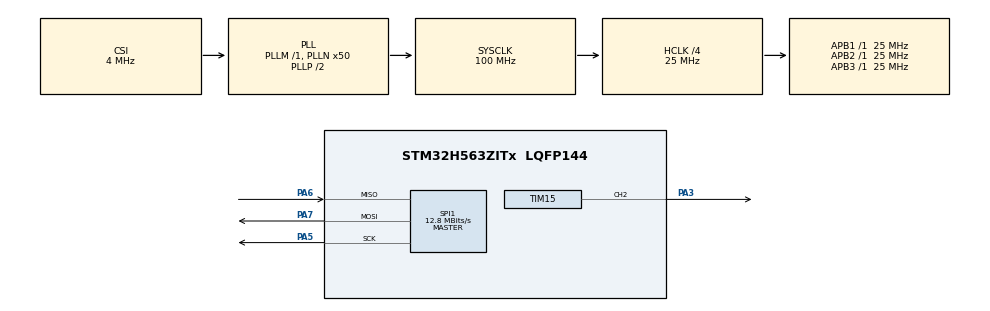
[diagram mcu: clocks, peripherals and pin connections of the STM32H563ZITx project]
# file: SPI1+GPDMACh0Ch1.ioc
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BOOTPATH.BootPathName=LEGACY
BOOTPATH.UserSelectedBootPath=LEGACY
CORTEX_M33_NS.Number-Cortex_Memory_Protection_Unit_Region0_OTP_RO_AREAS_Settings=MPU_REGION_NUMBER0
CORTEX_M33_NS.default_mode_Activation=1
CORTEX_M33_NS.userName=CORTEX_M33
GPDMA1.LINKALLOCATEDPORT_GPDMACH1=DMA_LINK_ALLOCATED_PORT0
GPDMA1.LINKEDLISTMODE_GPDMACH0=DMA_LINKEDLIST_CIRCULAR
GPDMA1.LINKEDLISTMODE_GPDMACH1=DMA_LINKEDLIST_CIRCULAR
Linkedlist.MDMA_Channel0.GP_SW.0.BlkHWRequest=DMA_BREQ_SINGLE_BURST
Linkedlist.MDMA_Channel0.GP_SW.0.DataHandling=NONE
Linkedlist.MDMA_Channel0.GP_SW.0.DataSize=SAMPLES_PER_CYCLE
Linkedlist.MDMA_Channel0.GP_SW.0.DestBurstLength=1
Linkedlist.MDMA_Channel0.GP_SW.0.DestDataWidth=DMA_DEST_DATAWIDTH_WORD
Linkedlist.MDMA_Channel0.GP_SW.0.DestInc=DMA_DINC_INCREMENTED
Linkedlist.MDMA_Channel0.GP_SW.0.Direction=DMA_PERIPH_TO_MEMORY
Linkedlist.MDMA_Channel0.GP_SW.0.DstAddress=(uint32_t)adc_samples
Linkedlist.MDMA_Channel0.GP_SW.0.Instance=MDMA_Channel0
Linkedlist.MDMA_Channel0.GP_SW.0.LL_CIRCULARNODE=Node1
Linkedlist.MDMA_Channel0.GP_SW.0.LL_MASTERDMA=GPDMA1
Linkedlist.MDMA_Channel0.GP_SW.0.LL_NAME=RX_Queue
Linkedlist.MDMA_Channel0.GP_SW.0.LL_TYPE=CIRCULAR
Linkedlist.MDMA_Channel0.GP_SW.0.Mode=DMA_NORMAL
Linkedlist.MDMA_Channel0.GP_SW.0.NODE_NAME=RX_Node
Linkedlist.MDMA_Channel0.GP_SW.0.Requestforcodegen=GPDMA1_REQUEST_SPI1_RX
Linkedlist.MDMA_Channel0.GP_SW.0.SrcAddress=(uint32_t)&(SPI1->RXDR)
Linkedlist.MDMA_Channel0.GP_SW.0.SrcBurstLength=1
Linkedlist.MDMA_Channel0.GP_SW.0.SrcDataWidth=DMA_SRC_DATAWIDTH_WORD
Linkedlist.MDMA_Channel0.GP_SW.0.SrcInc=DMA_SINC_FIXED
Linkedlist.MDMA_Channel0.GP_SW.0.TransferAllocatedPortSrc=DMA_SRC_ALLOCATED_PORT0
Linkedlist.MDMA_Channel0.GP_SW.0.TransferEventMode=DMA_TCEM_BLOCK_TRANSFER
Linkedlist.MDMA_Channel0.GP_SW.0.TriggerPolarity=DMA_TRIG_POLARITY_MASKED
Linkedlist.MDMA_Channel0.Request0=GP_SW
Linkedlist.MDMA_Channel0.RequestsNb=1
Linkedlist.MDMA_Channel1.GP_SW.0.BlkHWRequest=DMA_BREQ_SINGLE_BURST
Linkedlist.MDMA_Channel1.GP_SW.0.DataHandling=NONE
Linkedlist.MDMA_Channel1.GP_SW.0.DataSize=SAMPLES_PER_CYCLE
Linkedlist.MDMA_Channel1.GP_SW.0.DestBurstLength=1
Linkedlist.MDMA_Channel1.GP_SW.0.DestDataWidth=DMA_DEST_DATAWIDTH_WORD
Linkedlist.MDMA_Channel1.GP_SW.0.DestInc=DMA_DINC_FIXED
Linkedlist.MDMA_Channel1.GP_SW.0.Direction=DMA_MEMORY_TO_PERIPH
Linkedlist.MDMA_Channel1.GP_SW.0.DstAddress=(uint32_t)&(SPI1->TXDR)
Linkedlist.MDMA_Channel1.GP_SW.0.Instance=MDMA_Channel1
Linkedlist.MDMA_Channel1.GP_SW.0.LL_MASTERDMA=GPDMA1
Linkedlist.MDMA_Channel1.GP_SW.0.LL_NAME=TX_Queue
Linkedlist.MDMA_Channel1.GP_SW.0.LL_TYPE=LINEAR
Linkedlist.MDMA_Channel1.GP_SW.0.Mode=DMA_NORMAL
Linkedlist.MDMA_Channel1.GP_SW.0.NODE_NAME=TX_Node
Linkedlist.MDMA_Channel1.GP_SW.0.Requestforcodegen=GPDMA1_REQUEST_SPI1_TX
Linkedlist.MDMA_Channel1.GP_SW.0.SrcAddress=(uint32_t)tx_cmds
Linkedlist.MDMA_Channel1.GP_SW.0.SrcBurstLength=1
Linkedlist.MDMA_Channel1.GP_SW.0.SrcDataWidth=DMA_SRC_DATAWIDTH_WORD
Linkedlist.MDMA_Channel1.GP_SW.0.SrcInc=DMA_SINC_INCREMENTED
Linkedlist.MDMA_Channel1.GP_SW.0.TransferAllocatedPortSrc=DMA_SRC_ALLOCATED_PORT0
Linkedlist.MDMA_Channel1.GP_SW.0.TransferEventMode=DMA_TCEM_BLOCK_TRANSFER
Linkedlist.MDMA_Channel1.GP_SW.0.TriggerMode=DMA_TRIGM_BLOCK_TRANSFER
Linkedlist.MDMA_Channel1.GP_SW.0.TriggerPolarity=DMA_TRIG_POLARITY_FALLING
Linkedlist.MDMA_Channel1.GP_SW.0.TriggerSelection=GPDMA1_TRIGGER_TIM15_TRGO
Linkedlist.MDMA_Channel1.Request0=GP_SW
Linkedlist.MDMA_Channel1.RequestsNb=1
Linkedlist.RequestSet0=MDMA_Channel0
Linkedlist.RequestSet1=MDMA_Channel1
Linkedlist.RequestSetsNb=2
Mcu.Family=STM32H5
Mcu.Name=STM32H563ZITx
Mcu.Package=LQFP144
NUCLEO-H563ZI.BUTTON=1
NUCLEO-H563ZI.LD1=true
NUCLEO-H563ZI.LD2=true
NUCLEO-H563ZI.LD3=true
NUCLEO-H563ZI.VCP=true
NVIC.EXTI13_IRQn=true\:0\:0\:false\:false\:true\:false\:true\:true
NVIC.GPDMA1_Channel0_IRQn=true\:0\:0\:false\:false\:true\:false\:true\:true
NVIC.PriorityGroup=NVIC_PRIORITYGROUP_4
PA3.Signal=S_TIM15_CH2
PA5.Mode=Full_Duplex_Master
PA5.Signal=SPI1_SCK
PA6.Mode=Full_Duplex_Master
PA6.Signal=SPI1_MISO
PA7.Mode=Full_Duplex_Master
PA7.Signal=SPI1_MOSI
PD8.Signal=USART3_TX
PD9.Signal=USART3_RX
ProjectManager.HeapSize=0x200
ProjectManager.StackSize=0x400
ProjectManager.TargetToolchain=STM32CubeIDE
RCC.ADCFreq_Value=25000000
RCC.AHBCLKDivider=RCC_SYSCLK_DIV4
RCC.AHBFreq_Value=25000000
RCC.APB1Freq_Value=25000000
RCC.APB1TimFreq_Value=25000000
RCC.APB2Freq_Value=25000000
RCC.APB2TimFreq_Value=25000000
RCC.APB3Freq_Value=25000000
RCC.CSI_VALUE=4000000
RCC.CortexFreq_Value=25000000
RCC.EPOD_VALUE=4000000
RCC.HCLKFreq_Value=25000000
RCC.HSE_VALUE=8000000
RCC.HSI48_VALUE=48000000
RCC.HSIDiv=RCC_HSI_DIV1
RCC.HSI_VALUE=64000000
RCC.LSE_VALUE=32768
RCC.LSIRC_VALUE=32000
RCC.PLL2FRACN=0
RCC.PLL2M=5
RCC.PLL2N=20
RCC.PLL2P=10
RCC.PLL2Source=RCC_PLL2_SOURCE_HSI
RCC.PLL3FRACN=0
RCC.PLLFRACN=0
RCC.PLLN=50
RCC.SPI1CLockSelection=RCC_SPI1CLKSOURCE_PLL2P
RCC.SYSCLKFreq_VALUE=100000000
RCC.SYSCLKSource=RCC_SYSCLKSOURCE_PLLCLK
RCC.USBFreq_Value=48000000
RCC.VCOOutputFreq_Value=200000000
SH.S_TIM15_CH2.0=TIM15_CH2,PWM Generation2 CH2
SPI1.CalculateBaudRate=12.8 MBits/s
SPI1.DataSize=SPI_DATASIZE_20BIT
SPI1.Direction=SPI_DIRECTION_2LINES
SPI1.Mode=SPI_MODE_MASTER
SPI1.VirtualType=VM_MASTER
TIM15.Channel-PWM\ Generation2\ CH2=TIM_CHANNEL_2
TIM15.PeriodNoDither=1000
TIM15.Prescaler=(25000-1)
TIM15.PulseNoDither_2=(500-1)
TIM15.TIM_MasterOutputTrigger=TIM_TRGO_UPDATE
TIM15.TIM_MasterSlaveMode=TIM_MASTERSLAVEMODE_ENABLE
VP_BOOTPATH_VS_BOOTPATH.Mode=BP_Activate
VP_CORTEX_M33_NS_VS_Hclk.Mode=Hclk_Mode
VP_GPDMA1_VS_GPDMACH0.Mode=LINKEDLIST_GPDMACH0
VP_GPDMA1_VS_GPDMACH1.Mode=LINKEDLIST_GPDMACH1
VP_ICACHE_VS_ICACHE.Mode=DirectMappedCache
VP_MEMORYMAP_VS_MEMORYMAP.Mode=CurAppReg
VP_NUCLEO-H563ZI_VS_BSP_COMMON.Mode=COMMON
VP_PWR_VS_DBSignals.Mode=DisableDeadBatterySignals
VP_PWR_VS_LPOM.Mode=PowerOptimisation
VP_PWR_VS_SECSignals.Mode=Security/Privilege
VP_TIM15_VS_ClockSourceINT.Mode=Internal
board=NUCLEO-H563ZI

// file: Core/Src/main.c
/* USER CODE BEGIN Header */
/**
  ******************************************************************************
  * @file           : main.c
  * @brief          : Main program body
  ******************************************************************************
  * @attention
  *
  * Copyright (c) 2026 STMicroelectronics.
  * All rights reserved.
  *
  * This software is licensed under terms that can be found in the LICENSE file
  * in the root directory of this software component.
  * If no LICENSE file comes with this software, it is provided AS-IS.
  *
  ******************************************************************************
  */
/* USER CODE END Header */
#include "main.h"

/* USER CODE BEGIN Includes */
#include "linked_list.h"
#include "stm32h5xx_ll_spi.h"

/* USER CODE END Includes */

COM_InitTypeDef BspCOMInit;

DMA_HandleTypeDef handle_GPDMA1_Channel1;
DMA_HandleTypeDef handle_GPDMA1_Channel0;

SPI_HandleTypeDef hspi1;

TIM_HandleTypeDef htim15;

/* USER CODE BEGIN PV */
uint8_t adc_samples[TOTAL_TRANSFER_BYTES];
uint8_t tx_cmds[TOTAL_TRANSFER_BYTES];

extern DMA_QListTypeDef RX_Queue;
extern DMA_QListTypeDef TX_Queue;

/* USER CODE END PV */

void SystemClock_Config(void);
static void MPU_Config(void);
static void MX_GPIO_Init(void);
static void MX_GPDMA1_Init(void);
static void MX_ICACHE_Init(void);
static void MX_SPI1_Init(void);
static void MX_TIM15_Init(void);
/* USER CODE BEGIN PFP */
static void HAL_DMA_XferCpltCallback(DMA_HandleTypeDef *hdma);
static void HAL_DMA_XferErrorCallback(DMA_HandleTypeDef *hdma);

/* USER CODE END PFP */

/* USER CODE BEGIN 0 */
__IO uint32_t TransferCompleteDetected = 0U, TransferErrorDetected = 0U;

/* USER CODE END 0 */

int main(void)
{

  /* MCU Configuration--------------------------------------------------------*/

  /* MPU Configuration--------------------------------------------------------*/
  MPU_Config();

  /* Reset of all peripherals, Initializes the Flash interface and the Systick. */
  HAL_Init();

  /* Configure the system clock */
  SystemClock_Config();

  /* Initialize all configured peripherals */
  MX_GPIO_Init();
  MX_GPDMA1_Init();
  MX_ICACHE_Init();
  MX_SPI1_Init();
  MX_TIM15_Init();
  /* USER CODE BEGIN 2 */

  /* Initialize all configured peripherals */
    /* Initialize leds */
  BSP_LED_Init(LED_GREEN);
  BSP_LED_Init(LED_YELLOW);
  BSP_LED_Init(LED_RED);

  /* Initialize USER push-button, will be used to trigger an interrupt each time it's pressed.*/
  BSP_PB_Init(BUTTON_USER, BUTTON_MODE_EXTI);

  /* Initialize COM1 port (115200, 8 bits (7-bit data + 1 stop bit), no parity */
  BspCOMInit.BaudRate   = 115200;
  BspCOMInit.WordLength = COM_WORDLENGTH_8B;
  BspCOMInit.StopBits   = COM_STOPBITS_1;
  BspCOMInit.Parity     = COM_PARITY_NONE;
  BspCOMInit.HwFlowCtl  = COM_HWCONTROL_NONE;

  if (BSP_COM_Init(COM1, &BspCOMInit) != BSP_ERROR_NONE)
  {
    Error_Handler();
  }

  SET_BIT(hspi1.Instance->CFG1, SPI_CFG1_RXDMAEN);
  SET_BIT(hspi1.Instance->CFG1, SPI_CFG1_TXDMAEN);

  __HAL_SPI_ENABLE(&hspi1);

  for (uint32_t i = 0; i < TOTAL_TRANSFER_BYTES; i++)
  {
      tx_cmds[i] = (uint8_t)(0xA0 + i);
  }

  MX_RX_Queue_Config();
  MX_TX_Queue_Config();
  HAL_DMAEx_List_LinkQ(&handle_GPDMA1_Channel0, &RX_Queue);
  HAL_DMAEx_List_LinkQ(&handle_GPDMA1_Channel1, &TX_Queue);

  __HAL_LINKDMA(&hspi1, hdmarx, handle_GPDMA1_Channel0);
  __HAL_LINKDMA(&hspi1, hdmatx, handle_GPDMA1_Channel1);

  HAL_DMA_RegisterCallback(&handle_GPDMA1_Channel0, HAL_DMA_XFER_CPLT_CB_ID, HAL_DMA_XferCpltCallback);
  HAL_DMA_RegisterCallback(&handle_GPDMA1_Channel0, HAL_DMA_XFER_ERROR_CB_ID, HAL_DMA_XferErrorCallback);

	if (HAL_DMAEx_List_Start_IT(&handle_GPDMA1_Channel0) != HAL_OK)
	    {
	      Error_Handler();
	    }

	if (HAL_DMAEx_List_Start_IT(&handle_GPDMA1_Channel1) != HAL_OK)
		    {
		      Error_Handler();
		    }

	HAL_TIM_Base_Start(&htim15);
	HAL_TIM_PWM_Start(&htim15, TIM_CHANNEL_2);

	uint32_t loops = 0;
	while (loops < 1000000U && TransferErrorDetected == 0U) {
		if (TransferCompleteDetected) {
	        // Put a breakpoint here
	        TransferCompleteDetected = 0U; // clear and let it fire again
	    }
	    ++loops;
	}

	  if (TransferErrorDetected == 1U)
	    {
	      Error_Handler();
	    }

  /* USER CODE END 2 */

  /* Infinite loop */
  /* USER CODE BEGIN WHILE */
  while (1)
  {
	    HAL_Delay(100);
	    BSP_LED_Toggle(LED_GREEN);

    /* USER CODE END WHILE */

  }
}

void SystemClock_Config(void)
{
  RCC_OscInitTypeDef RCC_OscInitStruct = {0};
  RCC_ClkInitTypeDef RCC_ClkInitStruct = {0};

  /** Configure the main internal regulator output voltage
  */
  __HAL_PWR_VOLTAGESCALING_CONFIG(PWR_REGULATOR_VOLTAGE_SCALE3);

  while(!__HAL_PWR_GET_FLAG(PWR_FLAG_VOSRDY)) {}

  /** Initializes the RCC Oscillators according to the specified parameters
  * in the RCC_OscInitTypeDef structure.
  */
  RCC_OscInitStruct.OscillatorType = RCC_OSCILLATORTYPE_HSI|RCC_OSCILLATORTYPE_CSI;
  RCC_OscInitStruct.HSIState = RCC_HSI_ON;
  RCC_OscInitStruct.HSIDiv = RCC_HSI_DIV1;
  RCC_OscInitStruct.HSICalibrationValue = RCC_HSICALIBRATION_DEFAULT;
  RCC_OscInitStruct.CSIState = RCC_CSI_ON;
  RCC_OscInitStruct.CSICalibrationValue = RCC_CSICALIBRATION_DEFAULT;
  RCC_OscInitStruct.PLL.PLLState = RCC_PLL_ON;
  RCC_OscInitStruct.PLL.PLLSource = RCC_PLL1_SOURCE_CSI;
  RCC_OscInitStruct.PLL.PLLM = 1;
  RCC_OscInitStruct.PLL.PLLN = 50;
  RCC_OscInitStruct.PLL.PLLP = 2;
  RCC_OscInitStruct.PLL.PLLQ = 2;
  RCC_OscInitStruct.PLL.PLLR = 2;
  RCC_OscInitStruct.PLL.PLLRGE = RCC_PLL1_VCIRANGE_2;
  RCC_OscInitStruct.PLL.PLLVCOSEL = RCC_PLL1_VCORANGE_WIDE;
  RCC_OscInitStruct.PLL.PLLFRACN = 0;
  if (HAL_RCC_OscConfig(&RCC_OscInitStruct) != HAL_OK)
  {
    Error_Handler();
  }

  /** Initializes the CPU, AHB and APB buses clocks
  */
  RCC_ClkInitStruct.ClockType = RCC_CLOCKTYPE_HCLK|RCC_CLOCKTYPE_SYSCLK
                              |RCC_CLOCKTYPE_PCLK1|RCC_CLOCKTYPE_PCLK2
                              |RCC_CLOCKTYPE_PCLK3;
  RCC_ClkInitStruct.SYSCLKSource = RCC_SYSCLKSOURCE_PLLCLK;
  RCC_ClkInitStruct.AHBCLKDivider = RCC_SYSCLK_DIV4;
  RCC_ClkInitStruct.APB1CLKDivider = RCC_HCLK_DIV1;
  RCC_ClkInitStruct.APB2CLKDivider = RCC_HCLK_DIV1;
  RCC_ClkInitStruct.APB3CLKDivider = RCC_HCLK_DIV1;

  if (HAL_RCC_ClockConfig(&RCC_ClkInitStruct, FLASH_LATENCY_4) != HAL_OK)
  {
    Error_Handler();
  }

  /** Configure the programming delay
  */
  __HAL_FLASH_SET_PROGRAM_DELAY(FLASH_PROGRAMMING_DELAY_2);
}

static void MX_GPDMA1_Init(void)
{

  /* Peripheral clock enable */
  __HAL_RCC_GPDMA1_CLK_ENABLE();

  /* GPDMA1 interrupt Init */
    HAL_NVIC_SetPriority(GPDMA1_Channel0_IRQn, 0, 0);
    HAL_NVIC_EnableIRQ(GPDMA1_Channel0_IRQn);

    HAL_NVIC_SetPriority(GPDMA1_Channel1_IRQn, 0, 0);
    HAL_NVIC_EnableIRQ(GPDMA1_Channel1_IRQn);

  handle_GPDMA1_Channel1.Instance = GPDMA1_Channel1;
  handle_GPDMA1_Channel1.InitLinkedList.Priority = DMA_LOW_PRIORITY_LOW_WEIGHT;
  handle_GPDMA1_Channel1.InitLinkedList.LinkStepMode = DMA_LSM_FULL_EXECUTION;
  handle_GPDMA1_Channel1.InitLinkedList.LinkAllocatedPort = DMA_LINK_ALLOCATED_PORT0;
  handle_GPDMA1_Channel1.InitLinkedList.TransferEventMode = DMA_TCEM_LAST_LL_ITEM_TRANSFER;
  handle_GPDMA1_Channel1.InitLinkedList.LinkedListMode = DMA_LINKEDLIST_CIRCULAR;
  if (HAL_DMAEx_List_Init(&handle_GPDMA1_Channel1) != HAL_OK)
  {
    Error_Handler();
  }
  if (HAL_DMA_ConfigChannelAttributes(&handle_GPDMA1_Channel1, DMA_CHANNEL_NPRIV) != HAL_OK)
  {
    Error_Handler();
  }

  handle_GPDMA1_Channel0.Instance = GPDMA1_Channel0;
  handle_GPDMA1_Channel0.InitLinkedList.Priority = DMA_LOW_PRIORITY_LOW_WEIGHT;
  handle_GPDMA1_Channel0.InitLinkedList.LinkStepMode = DMA_LSM_FULL_EXECUTION;
  handle_GPDMA1_Channel0.InitLinkedList.LinkAllocatedPort = DMA_LINK_ALLOCATED_PORT0;
  handle_GPDMA1_Channel0.InitLinkedList.TransferEventMode = DMA_TCEM_LAST_LL_ITEM_TRANSFER;
  handle_GPDMA1_Channel0.InitLinkedList.LinkedListMode = DMA_LINKEDLIST_CIRCULAR;
  if (HAL_DMAEx_List_Init(&handle_GPDMA1_Channel0) != HAL_OK)
  {
    Error_Handler();
  }
  if (HAL_DMA_ConfigChannelAttributes(&handle_GPDMA1_Channel0, DMA_CHANNEL_NPRIV) != HAL_OK)
  {
    Error_Handler();
  }

}

static void MX_ICACHE_Init(void)
{

  /** Enable instruction cache in 1-way (direct mapped cache)
  */
  if (HAL_ICACHE_ConfigAssociativityMode(ICACHE_1WAY) != HAL_OK)
  {
    Error_Handler();
  }
  if (HAL_ICACHE_Enable() != HAL_OK)
  {
    Error_Handler();
  }

}

static void MX_SPI1_Init(void)
{

  /* SPI1 parameter configuration*/
  hspi1.Instance = SPI1;
  hspi1.Init.Mode = SPI_MODE_MASTER;
  hspi1.Init.Direction = SPI_DIRECTION_2LINES;
  hspi1.Init.DataSize = SPI_DATASIZE_8BIT;
  hspi1.Init.CLKPolarity = SPI_POLARITY_LOW;
  hspi1.Init.CLKPhase = SPI_PHASE_1EDGE;
  hspi1.Init.NSS = SPI_NSS_SOFT;
  hspi1.Init.BaudRatePrescaler = SPI_BAUDRATEPRESCALER_2;
  hspi1.Init.FirstBit = SPI_FIRSTBIT_MSB;
  hspi1.Init.TIMode = SPI_TIMODE_DISABLE;
  hspi1.Init.CRCCalculation = SPI_CRCCALCULATION_DISABLE;
  hspi1.Init.CRCPolynomial = 0x7;
  hspi1.Init.NSSPMode = SPI_NSS_PULSE_ENABLE;
  hspi1.Init.NSSPolarity = SPI_NSS_POLARITY_LOW;
  hspi1.Init.FifoThreshold = SPI_FIFO_THRESHOLD_01DATA;
  hspi1.Init.MasterSSIdleness = SPI_MASTER_SS_IDLENESS_00CYCLE;
  hspi1.Init.MasterInterDataIdleness = SPI_MASTER_INTERDATA_IDLENESS_00CYCLE;
  hspi1.Init.MasterReceiverAutoSusp = SPI_MASTER_RX_AUTOSUSP_DISABLE;
  hspi1.Init.MasterKeepIOState = SPI_MASTER_KEEP_IO_STATE_DISABLE;
  hspi1.Init.IOSwap = SPI_IO_SWAP_DISABLE;
  hspi1.Init.ReadyMasterManagement = SPI_RDY_MASTER_MANAGEMENT_INTERNALLY;
  hspi1.Init.ReadyPolarity = SPI_RDY_POLARITY_HIGH;
  if (HAL_SPI_Init(&hspi1) != HAL_OK)
  {
    Error_Handler();
  }

}

static void MX_TIM15_Init(void)
{

  TIM_ClockConfigTypeDef sClockSourceConfig = {0};
  TIM_MasterConfigTypeDef sMasterConfig = {0};
  TIM_OC_InitTypeDef sConfigOC = {0};
  TIM_BreakDeadTimeConfigTypeDef sBreakDeadTimeConfig = {0};

  htim15.Instance = TIM15;
  htim15.Init.Prescaler = (25000-1);
  htim15.Init.CounterMode = TIM_COUNTERMODE_UP;
  htim15.Init.Period = 1000;
  htim15.Init.ClockDivision = TIM_CLOCKDIVISION_DIV1;
  htim15.Init.RepetitionCounter = 0;
  htim15.Init.AutoReloadPreload = TIM_AUTORELOAD_PRELOAD_DISABLE;
  if (HAL_TIM_Base_Init(&htim15) != HAL_OK)
  {
    Error_Handler();
  }
  sClockSourceConfig.ClockSource = TIM_CLOCKSOURCE_INTERNAL;
  if (HAL_TIM_ConfigClockSource(&htim15, &sClockSourceConfig) != HAL_OK)
  {
    Error_Handler();
  }
  if (HAL_TIM_PWM_Init(&htim15) != HAL_OK)
  {
    Error_Handler();
  }
  sMasterConfig.MasterOutputTrigger = TIM_TRGO_UPDATE;
  sMasterConfig.MasterSlaveMode = TIM_MASTERSLAVEMODE_ENABLE;
  if (HAL_TIMEx_MasterConfigSynchronization(&htim15, &sMasterConfig) != HAL_OK)
  {
    Error_Handler();
  }
  sConfigOC.OCMode = TIM_OCMODE_PWM1;
  sConfigOC.Pulse = 499;
  sConfigOC.OCPolarity = TIM_OCPOLARITY_HIGH;
  sConfigOC.OCNPolarity = TIM_OCNPOLARITY_HIGH;
  sConfigOC.OCFastMode = TIM_OCFAST_DISABLE;
  sConfigOC.OCIdleState = TIM_OCIDLESTATE_RESET;
  sConfigOC.OCNIdleState = TIM_OCNIDLESTATE_RESET;
  if (HAL_TIM_PWM_ConfigChannel(&htim15, &sConfigOC, TIM_CHANNEL_2) != HAL_OK)
  {
    Error_Handler();
  }
  sBreakDeadTimeConfig.OffStateRunMode = TIM_OSSR_DISABLE;
  sBreakDeadTimeConfig.OffStateIDLEMode = TIM_OSSI_DISABLE;
  sBreakDeadTimeConfig.LockLevel = TIM_LOCKLEVEL_OFF;
  sBreakDeadTimeConfig.DeadTime = 0;
  sBreakDeadTimeConfig.BreakState = TIM_BREAK_DISABLE;
  sBreakDeadTimeConfig.BreakPolarity = TIM_BREAKPOLARITY_HIGH;
  sBreakDeadTimeConfig.BreakFilter = 0;
  sBreakDeadTimeConfig.AutomaticOutput = TIM_AUTOMATICOUTPUT_DISABLE;
  if (HAL_TIMEx_ConfigBreakDeadTime(&htim15, &sBreakDeadTimeConfig) != HAL_OK)
  {
    Error_Handler();
  }
  HAL_TIM_MspPostInit(&htim15);

}

static void MX_GPIO_Init(void)
{

  /* GPIO Ports Clock Enable */
  __HAL_RCC_GPIOA_CLK_ENABLE();

}

/* USER CODE BEGIN 4 */
void HAL_DMA_XferCpltCallback(DMA_HandleTypeDef *hdma)
{
  if ((hdma == &handle_GPDMA1_Channel0) || (hdma == &handle_GPDMA1_Channel1))
  {
    TransferCompleteDetected = 1U;
  }
}

void HAL_DMA_XferErrorCallback(DMA_HandleTypeDef *hdma)
{
  if (hdma == &handle_GPDMA1_Channel0)
  {
    TransferErrorDetected = 1U;
  }
}
/* USER CODE END 4 */

 /* MPU Configuration */

void MPU_Config(void)
{
  MPU_Region_InitTypeDef MPU_InitStruct = {0};
  MPU_Attributes_InitTypeDef MPU_AttributesInit = {0};

  /* Disables the MPU */
  HAL_MPU_Disable();

  /** Initializes and configures the Region 0 and the memory to be protected
  */
  MPU_InitStruct.Enable = MPU_REGION_ENABLE;
  MPU_InitStruct.Number = MPU_REGION_NUMBER0;
  MPU_InitStruct.BaseAddress = 0x08FFF000;
  MPU_InitStruct.LimitAddress = 0x08FFFFFF;
  MPU_InitStruct.AttributesIndex = MPU_ATTRIBUTES_NUMBER0;
  MPU_InitStruct.AccessPermission = MPU_REGION_ALL_RO;
  MPU_InitStruct.DisableExec = MPU_INSTRUCTION_ACCESS_DISABLE;
  MPU_InitStruct.IsShareable = MPU_ACCESS_NOT_SHAREABLE;

  HAL_MPU_ConfigRegion(&MPU_InitStruct);

  /** Initializes and configures the Attribute 0 and the memory to be protected
  */
  MPU_AttributesInit.Number = MPU_ATTRIBUTES_NUMBER0;
  MPU_AttributesInit.Attributes = INNER_OUTER(MPU_NOT_CACHEABLE);

  HAL_MPU_ConfigMemoryAttributes(&MPU_AttributesInit);
  /* Enables the MPU */
  HAL_MPU_Enable(MPU_PRIVILEGED_DEFAULT);

}

void Error_Handler(void)
{
  __disable_irq();
  while (1)
  {
  }
}
